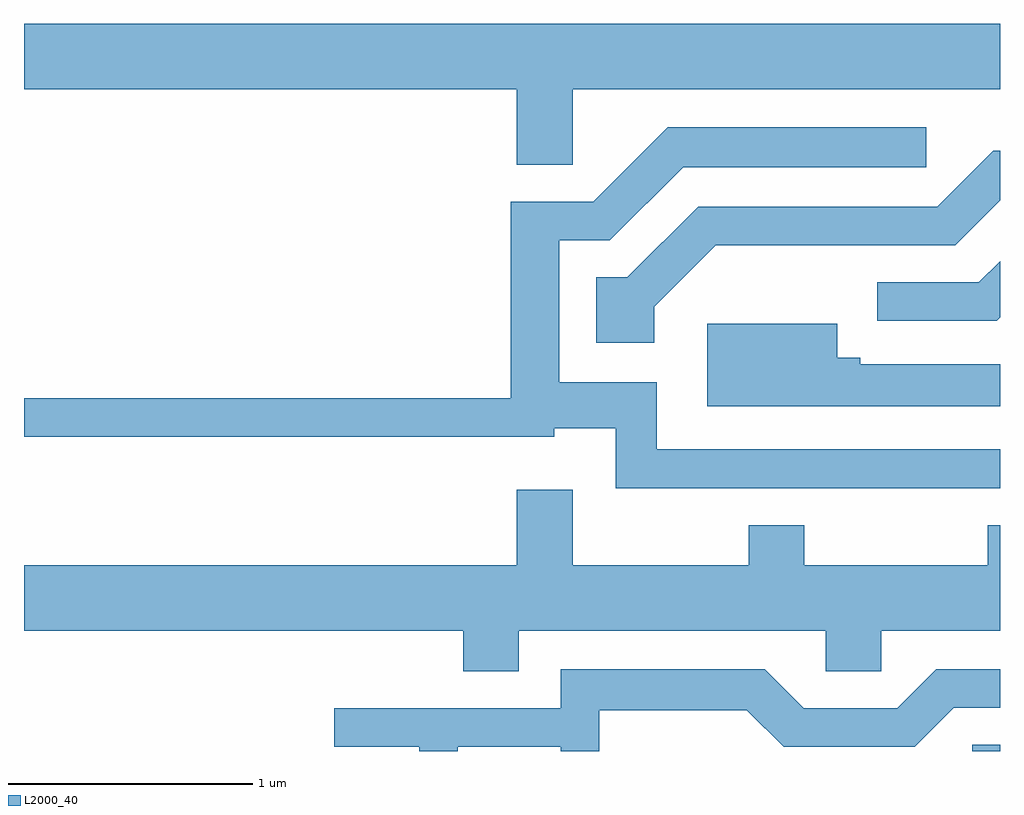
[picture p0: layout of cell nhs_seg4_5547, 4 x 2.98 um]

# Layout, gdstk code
import gdstk
lib = gdstk.Library(unit=1e-6, precision=1e-09)
def R(c, l, rs):  # rectangles x0, y0, x1, y1
    for r in rs: c.add(gdstk.rectangle(r[:2], r[2:], *l))
def P(c, l, *ps):  # polygons
    for p in ps: c.add(gdstk.Polygon(p, *l))
L2000_40 = (2000, 40)

nhs_seg4_5547 = lib.new_cell('nhs_seg4_5547')
R(nhs_seg4_5547, L2000_40, [(351.498,1331.982,351.611,1332.009)])
P(nhs_seg4_5547, L2000_40, [(349.859,1334.696),(351.611,1334.696),(351.611,1334.964),(347.611,1334.964),(347.611,1334.696),(349.631,1334.696),(349.631,1334.386),(349.859,1334.386)],
  [(351.611,1333.219),(350.204,1333.219),(350.204,1333.494),(349.804,1333.494),(349.804,1334.076),(350.012,1334.076),(350.312,1334.376),(351.308,1334.376),(351.308,1334.539),(350.249,1334.539),(349.944,1334.234),(349.606,1334.234),(349.606,1333.429),(347.611,1333.429),(347.611,1333.271),(349.784,1333.271),(349.784,1333.306),(350.036,1333.306),(350.036,1333.061),(351.611,1333.061)],
  [(350.194,1333.804),(350.447,1334.056),(351.427,1334.056),(351.611,1334.24),(351.611,1334.444),(351.584,1334.444),(351.354,1334.214),(350.374,1334.214),(350.084,1333.924),(349.956,1333.924),(349.956,1333.656),(350.194,1333.656)],
  [(351.611,1333.76),(351.611,1333.991),(351.524,1333.904),(351.108,1333.904),(351.108,1333.746),(351.597,1333.746)],
  [(351.611,1333.569),(351.039,1333.569),(351.039,1333.594),(350.944,1333.594),(350.944,1333.734),(350.411,1333.734),(350.411,1333.396),(351.611,1333.396)],
  [(350.809,1332.909),(350.581,1332.909),(350.581,1332.744),(349.859,1332.744),(349.859,1333.054),(349.631,1333.054),(349.631,1332.744),(347.611,1332.744),(347.611,1332.476),(349.411,1332.476),(349.411,1332.311),(349.639,1332.311),(349.639,1332.476),(350.896,1332.476),(350.896,1332.311),(351.124,1332.311),(351.124,1332.476),(351.611,1332.476),(351.611,1332.909),(351.561,1332.909),(351.561,1332.744),(350.809,1332.744)],
  [(349.389,1332.001),(349.811,1332.001),(349.811,1331.982),(349.969,1331.982),(349.969,1332.151),(350.574,1332.151),(350.724,1332.001),(351.262,1332.001),(351.422,1332.161),(351.611,1332.161),(351.611,1332.319),(351.349,1332.319),(351.189,1332.159),(350.807,1332.159),(350.647,1332.319),(349.811,1332.319),(349.811,1332.159),(348.883,1332.159),(348.883,1332.001),(349.231,1332.001),(349.231,1331.982),(349.389,1331.982)])

lib.write_gds('nhs_seg4_5547.gds')
